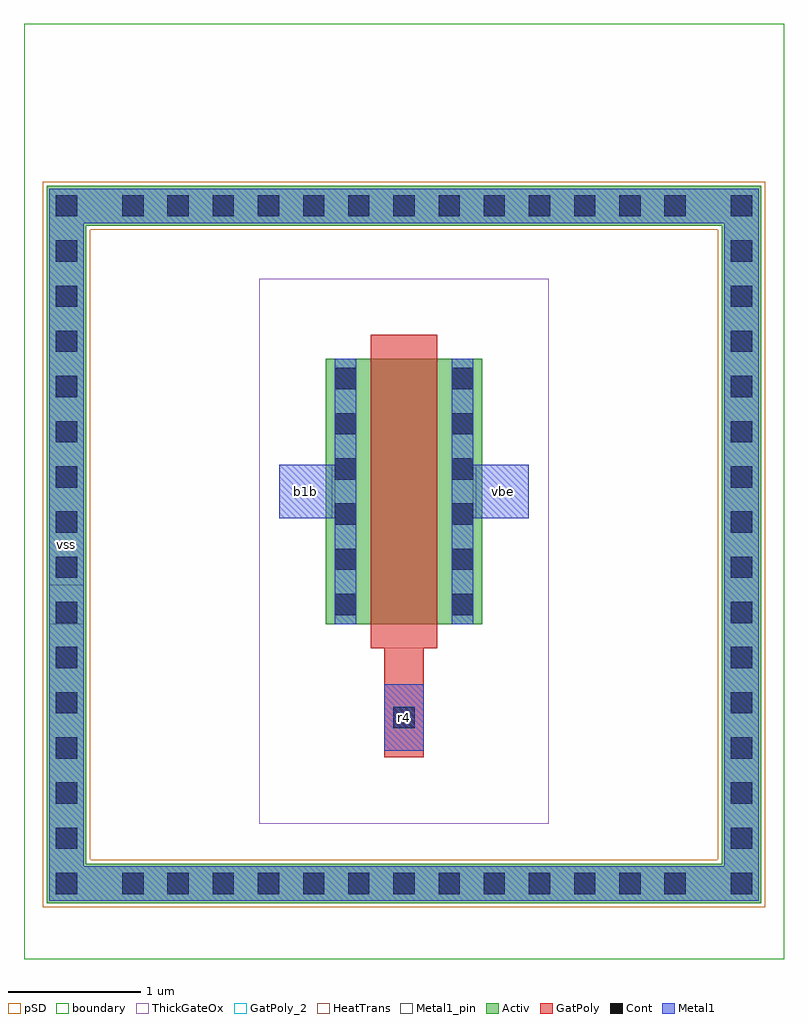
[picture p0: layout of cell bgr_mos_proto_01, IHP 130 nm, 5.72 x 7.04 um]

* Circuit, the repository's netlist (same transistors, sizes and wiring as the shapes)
.subckt bgr_mos_proto_01 vbe r4 b1b vss
MUNIT vbe r4 b1b vss sg13_hv_nmos l=0.5u w=2u as=0.68p ad=0.68p ps=4.68u pd=4.68u rfmode=0
.ends bgr_mos_proto_01

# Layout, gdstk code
import gdstk
lib = gdstk.Library(unit=1e-6, precision=1e-09)
def R(c, l, rs):  # rectangles x0, y0, x1, y1
    for r in rs: c.add(gdstk.rectangle(r[:2], r[2:], *l))
def A(c, l, x, y, w, h, nx, ny, dx, dy):  # array of equal rectangles
    R(c, l, [(x+i*dx, y+j*dy, x+i*dx+w, y+j*dy+h) for i in range(nx) for j in range(ny)])
def P(c, l, *ps):  # polygons
    for p in ps: c.add(gdstk.Polygon(p, *l))
Activ = (1, 0)
GatPoly = (5, 0)
GatPoly_2 = (5, 2)
Cont = (6, 0)
Metal1 = (8, 0)
Metal1_pin = (8, 2)
pSD = (14, 0)
ThickGateOx = (44, 0)
HeatTrans = (51, 0)
boundary = (189, 4)

nmoshv = lib.new_cell('nmosHV')
R(nmoshv, Activ, [(0,0,0.3,0.3), (0,0,1.18,2), (0.88,0,1.18,0.3)])
R(nmoshv, GatPoly, [(0.34,-0.18,0.84,2.18)])
R(nmoshv, GatPoly_2, [(0.34,-0.18,0.84,2.18)])
A(nmoshv, Cont, 0.07, 0.07, 0.16, 0.16, 1, 6, 0, 0.34)
A(nmoshv, Cont, 0.95, 0.07, 0.16, 0.16, 1, 6, 0, 0.34)
R(nmoshv, Metal1, [(0.07,0,0.23,2), (0.95,0,1.11,2)])
R(nmoshv, Metal1_pin, [(0.07,0,0.23,2), (0.95,0,1.11,2)])
R(nmoshv, ThickGateOx, [(-0.27,-0.52,1.45,2.52)])
R(nmoshv, HeatTrans, [(0.34,-0.18,0.84,2.18)])
nmoshv.add(gdstk.Label('nmosHV', (0.59,1), layer=63, texttype=0))
nmoshv.add(gdstk.Label('nmosHV', (0.59,1), layer=51, texttype=0))

bgr_mos_proto_01 = lib.new_cell('bgr_mos_proto_01')
P(bgr_mos_proto_01, Activ, [(7.9,7.9),(7.9,13),(8.2,13),(8.2,8.2),(12.98,8.2),(12.98,13),(7.9,13),(7.9,13.3),(13.28,13.3),(13.28,7.9)])
R(bgr_mos_proto_01, GatPoly, [(10.44,9,10.74,9.82)])
A(bgr_mos_proto_01, Cont, 7.97, 7.97, 0.16, 0.16, 1, 16, 0, 0.34)
A(bgr_mos_proto_01, Cont, 8.47, 7.97, 0.16, 0.16, 13, 2, 0.34, 5.1)
A(bgr_mos_proto_01, Cont, 13.05, 7.97, 0.16, 0.16, 1, 16, 0, 0.34)
R(bgr_mos_proto_01, Cont, [(10.51,9.22,10.67,9.38)])
R(bgr_mos_proto_01, Metal1, [(10.44,9.05,10.74,9.55), (9.65,10.8,10.23,11.2), (10.95,10.8,11.53,11.2)])
P(bgr_mos_proto_01, Metal1, [(7.92,7.92),(7.92,13.02),(8.18,13.02),(8.18,8.18),(13,8.18),(13,13.02),(7.92,13.02),(7.92,13.28),(13.26,13.28),(13.26,7.92)])
R(bgr_mos_proto_01, Metal1_pin, [(10.44,9.05,10.74,9.55), (7.92,10,8.18,10.3), (9.65,10.8,10.05,11.2), (11.13,10.8,11.53,11.2)])
P(bgr_mos_proto_01, pSD, [(7.87,7.87),(7.87,12.97),(8.23,12.97),(8.23,8.23),(12.95,8.23),(12.95,12.97),(7.87,12.97),(7.87,13.33),(13.31,13.33),(13.31,7.87)])
R(bgr_mos_proto_01, ThickGateOx, [(9.5,8.5,11.68,12.6)])
R(bgr_mos_proto_01, boundary, [(7.73,7.48,13.45,14.52)])
bgr_mos_proto_01.add(gdstk.Reference(nmoshv, (10,10)))
bgr_mos_proto_01.add(gdstk.Label('r4', (10.59,9.3), layer=8, texttype=25))
bgr_mos_proto_01.add(gdstk.Label('vbe', (11.33,11), layer=8, texttype=25))
bgr_mos_proto_01.add(gdstk.Label('vss', (8.05,10.6), layer=8, texttype=25))
bgr_mos_proto_01.add(gdstk.Label('b1b', (9.85,11), layer=8, texttype=25))

lib.write_gds('bgr_mos_proto_01.gds')
